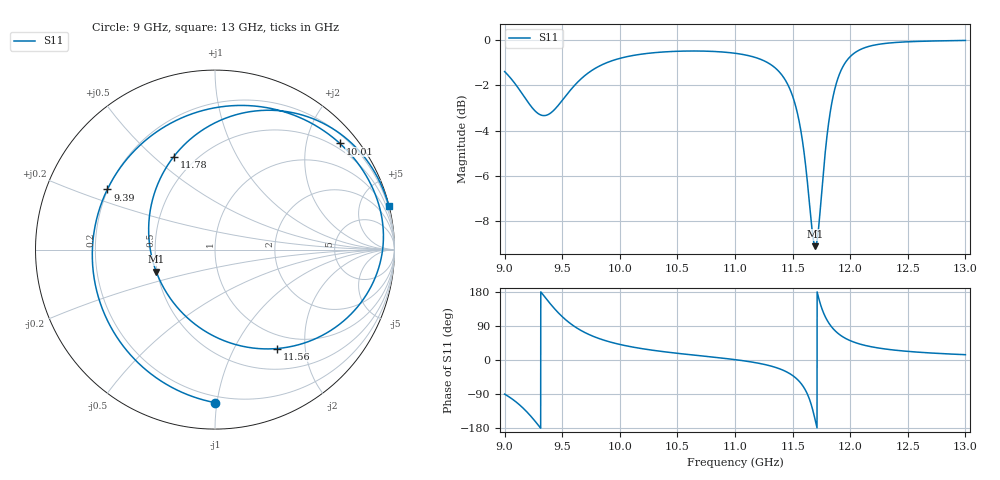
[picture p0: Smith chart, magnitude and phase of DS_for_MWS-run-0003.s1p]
! TOUCHSTONE file generated by CST DESIGN STUDIO
! Date and time: Tue Feb  4 17:35:05 2025
! Project name: C:\Work\MatlabApps\UnitCellOptimizationMatlab\CST\unitcell.cst
! Tree item: Tasks\Sweep1\SPara1\S-Parameters
! Header version: 2024
! Port assignment regex: !\s*Touchstone port\s*([0-9]+)\s*=\s*(CST MWS port|CST DES external port|CST DES block port)\s*(.+)\s* \(\"(.*)\"\)(\s*mode\s*([0-9]+))?.*
! Touchstone port assignment:
! Touchstone port 1 = CST DES external port 1 ("")
# GHz S MA R 50
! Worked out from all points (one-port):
!   4001 points, 9 GHz to 13 GHz, reference 50 ohm
!   lowest |S11| = -9.1 dB at 11.7 GHz (marker M1), VSWR 2.08, Z = 24.7 - j6.91 ohm
!   |S11| at or under -10 dB: nowhere
!   S11 on the Smith chart (normalised r, x): 9 GHz: 0.16, -0.99; 9.39 GHz: 0.20, +0.25; 10.01 GHz: 0.38, +2.67; 11.56 GHz: 0.79, -1.51; 11.78 GHz: 0.38, +0.58; 13 GHz: 0.03, +8.13
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9  0.8525 -90.0
9.125  0.7794 -117.1
9.243  0.707 -153.7
9.316  0.6828 179.0
9.39  0.6873 150.8
9.5  0.7357 114.5
9.604  0.7927 89.0
9.739  0.8511 66.4
9.86  0.886 52.5
10  0.9117 41.1
10.01  0.9131 40.4
10.5  0.9454 17.7
11  0.9358 1.0
11.322  0.8793 -16.8
11.422  0.8274 -27.6
11.5  0.7522 -40.9
11.562  0.651 -57.8
11.633  0.4725 -93.1
11.697  0.3498 -159.5
11.738  0.4159 150.8
11.784  0.5669 113.9
11.823  0.6838 93.7
11.867  0.7811 77.7
11.931  0.8686 62.1
12  0.92 51.1
12.187  0.9728 34.7
12.5  0.9923 22.8
13  0.999 14.0
